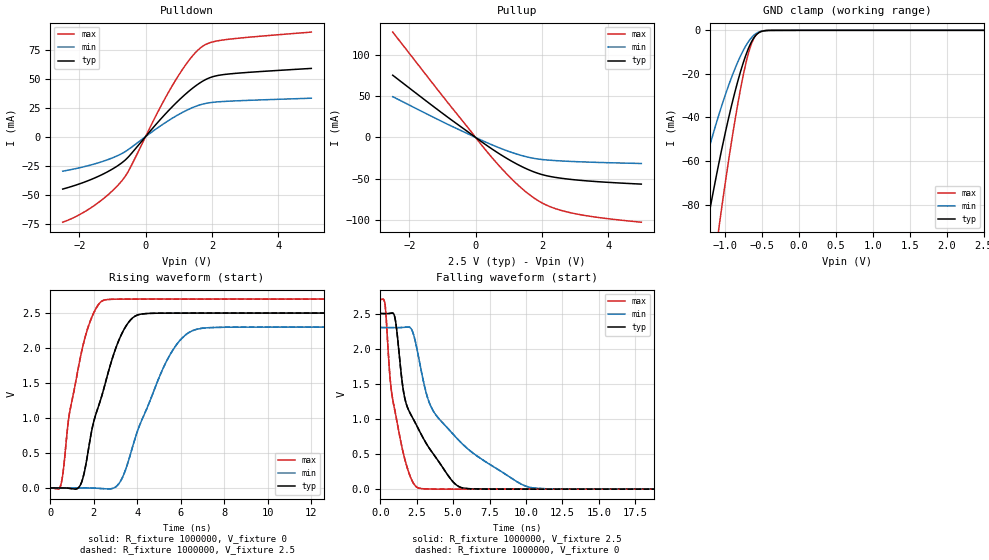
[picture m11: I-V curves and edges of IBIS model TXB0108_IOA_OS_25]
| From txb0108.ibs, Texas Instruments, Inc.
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[Model]   TXB0108_IOA_OS_25
Model_type  I/O
Vinl=0.805
Vinh=1.755
Enable   Active-High
Vref =   0
Rref =   1000000
Cref =   15p
Vmeas =   1.25
| variable   typ   min   max
C_comp   5.08pF   4.35pF   5.43pF
| C_pullup   5.32pF   3.71pF   6.66pF
| C_pulldown   5.42pF   4.93pF   6.30pF
| C_tri-state   5.08pF   4.35pF   5.43pF
[Temperature Range]   40   100   -40
| Ambient temperature   25   85   -40
[Voltage range]   2.5   2.3   2.7
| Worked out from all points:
|   slope of the pulldown table from 0 to 0.375 V, typ, clamps not added: 29.9 ohm
|   slope of the pullup table from 0 to 0.375 V, typ, clamps not added: 35 ohm
|   GND clamp passes 1 mA (typ) near -0.54 V on its own axis
|   rising waveform, R_fixture 1000000, V_fixture 0: 20-80 % time 1.29ns typ, 1.73ns min, 912ps max; typ from 0 V to 2.5 V
|   falling waveform, R_fixture 1000000, V_fixture 2.5: 20-80 % time 2.38ns typ, 4.06ns min, 1.06ns max; typ from 2.5 V to 0 V
|   rising waveform, R_fixture 1000000, V_fixture 2.5: 20-80 % time 1.29ns typ, 1.73ns min, 912ps max; typ from 0 V to 2.5 V
|   falling waveform, R_fixture 1000000, V_fixture 0: 20-80 % time 2.38ns typ, 4.06ns min, 1.06ns max; typ from 2.5 V to 0 V
[GND Clamp]
| TXB0108_IOA_25
|   Voltage   I(typ)   I(min)   I(max)
-2.5V     -377mA     -263.3mA   -512.1mA
-1.49V    -138.4mA   -90.69mA   -201mA
-1.455V   -131.1mA   -85.68mA   -191mA
-1.245V   -89.66mA   -57.67mA   -132.6mA
-1.075V   -59.58mA   -37.82mA   -88.7mA
-910mV    -34.25mA   -21.45mA   -50.57mA
-760mV    -15.58mA   -9.647mA   -21.63mA
-660mV    -6.497mA   -4.105mA   -7.86mA
-615mV    -3.694mA   -2.41mA    -4mA
-560mV    -1.519mA   -1.058mA   -1.379mA
-395mV    -32.98uA   -33.25uA   -12.87uA
2.5V      380.1pA    1.805nA    75.56pA
[Pulldown]
| TXB0108_IOA_25
|   Voltage   I(typ)   I(min)   I(max)
-2.5V     -45.26mA   -29.81mA   -73.85mA
-1.52V    -35.5mA    -23.43mA   -58.92mA
-1.06V    -28.97mA   -19.02mA   -48.34mA
-690mV    -22.02mA   -14.22mA   -37.22mA
-480mV    -16.29mA   -10.33mA   -27.78mA
330mV     11.07mA    6.886mA    19.05mA
820mV     26.2mA     16.12mA    44.62mA
1.295V    38.9mA     23.49mA    65.29mA
1.675V    47mA       27.67mA    77mA
1.95V     50.96mA    29.31mA    81.1mA
2.38V     53.62mA    30.37mA    83.55mA
5V        58.86mA    33.15mA    90.19mA
[Pullup]
| TXB0108_IOA_25
|   Voltage   I(typ)   I(min)   I(max)
-2.5V     75.48mA    49.45mA    127.8mA
-945mV    27.67mA    17.96mA    47.66mA
415mV     -11.83mA   -7.58mA    -20.65mA
1.055V    -28.06mA   -17.71mA   -49mA
1.62V     -39.53mA   -24.25mA   -69.24mA
1.88V     -43.5mA    -26.14mA   -76.48mA
2.13V     -46.32mA   -27.25mA   -81.92mA
2.735V    -50.26mA   -28.82mA   -90.11mA
3.61V     -53.44mA   -30.18mA   -96.56mA
5V        -56.6mA    -31.6mA    -102.8mA
[Ramp]
| TXB0108_IOA_25
| variable   typ   min   max
dV/dt_r   1.51/1.29E-09   1.39/1.74E-09   1.63/9.15E-10
dV/dt_f   1.50/2.38E-09   1.39/4.05E-09   1.62/1.06E-09
R_load = 1000000
[Rising Waveform]
| TXB0108_IOA_25
R_fixture =   1000000
C_fixture =   0
L_fixture =   0
V_fixture =   0
V_fixture_min = 0
V_fixture_max = 0
|   Time   V(typ)   V(min)   V(max)
0s        2.536nV    18.95nV    217.3pV
509ps     578.2uV    84.13uV    73.91mV
869ps     -4.7mV     341.2uV    1.04V
1.373ns   35.17mV    499.2uV    1.848V
1.997ns   945.2mV    -1.814mV   2.501V
2.669ns   1.654V     -13.32mV   2.694V
3.893ns   2.454V     698.6mV    2.7V
5.669ns   2.499V     1.985V     2.7V
7.253ns   2.5V       2.29V      2.7V
117.8ns   2.5V       2.3V       2.7V
[Falling Waveform]
| TXB0108_IOA_25
R_fixture =   1000000
C_fixture =   0
L_fixture =   0
V_fixture =   2.5
V_fixture_min = 2.3
V_fixture_max = 2.7
|   Time   V(typ)   V(min)   V(max)
0s        2.5V       2.3V       2.7V
317ps     2.499V     2.3V       2.645V
965ps     2.473V     2.299V     1.157V
1.493ns   1.542V     2.301V     593.4mV
2.213ns   1.018V     2.245V     108.1mV
2.837ns   769.7mV    1.66V      7.965mV
3.605ns   511.9mV    1.125V     1.532mV
5.453ns   30.62mV    682.5mV    155.4uV
10.83ns   136.8uV    10.75mV    47.97uV
117.8ns   73.24uV    107.6uV    45.56uV
[Rising Waveform]
| TXB0108_IOA_25
R_fixture =   1000000
C_fixture =   0
L_fixture =   0
V_fixture =   2.5
V_fixture_min = 2.3
V_fixture_max = 2.7
|   Time   V(typ)   V(min)   V(max)
0s        72.56uV    106.7uV    45.26uV
509ps     650.6uV    190.9uV    73.96mV
869ps     -4.628mV   447.8uV    1.04V
1.373ns   35.24mV    605.5uV    1.848V
1.997ns   945.3mV    -1.708mV   2.501V
2.669ns   1.655V     -13.21mV   2.694V
3.893ns   2.454V     698.7mV    2.7V
5.669ns   2.499V     1.985V     2.7V
7.253ns   2.5V       2.29V      2.7V
117.8ns   2.5V       2.3V       2.7V
[Falling Waveform]
| TXB0108_IOA_25
R_fixture =   1000000
C_fixture =   0
L_fixture =   0
V_fixture =   0
V_fixture_min = 0
V_fixture_max = 0
|   Time   V(typ)   V(min)   V(max)
0s        2.5V       2.3V       2.7V
317ps     2.499V     2.3V       2.645V
965ps     2.473V     2.299V     1.157V
1.493ns   1.542V     2.301V     593.3mV
2.213ns   1.018V     2.244V     108.1mV
2.837ns   769.5mV    1.66V      7.92mV
3.605ns   511.7mV    1.125V     1.487mV
5.453ns   30.42mV    682.4mV    110.2uV
10.83ns   64.21uV    10.64mV    2.707uV
117.8ns   526.7nV    830.4nV    271.4nV
